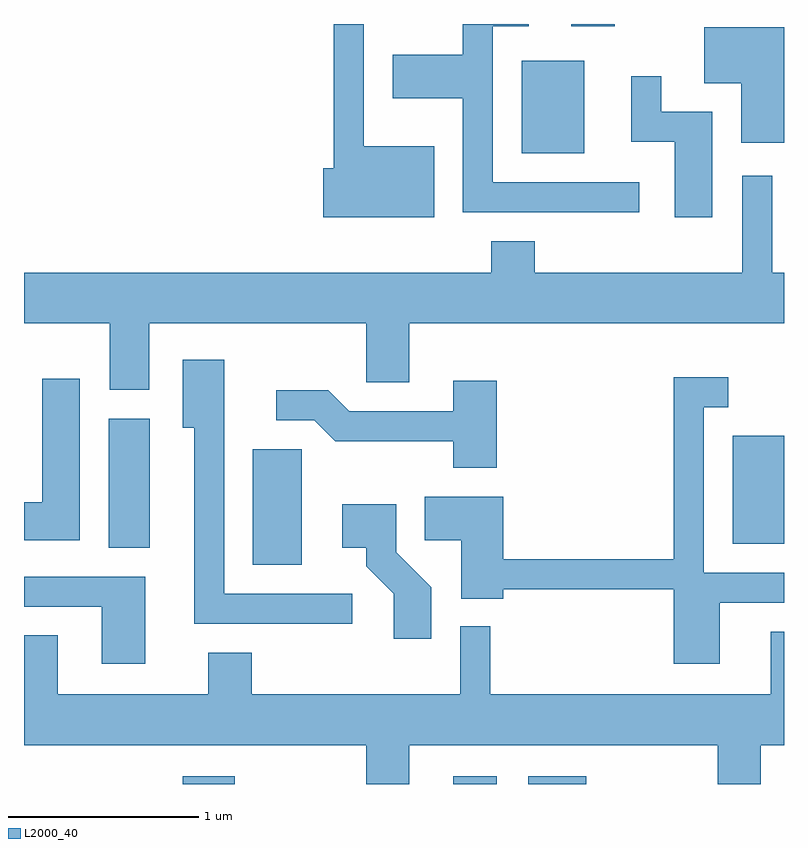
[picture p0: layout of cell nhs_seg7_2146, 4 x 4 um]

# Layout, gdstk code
import gdstk
lib = gdstk.Library(unit=1e-6, precision=1e-09)
def R(c, l, rs):  # rectangles x0, y0, x1, y1
    for r in rs: c.add(gdstk.rectangle(r[:2], r[2:], *l))
def P(c, l, *ps):  # polygons
    for p in ps: c.add(gdstk.Polygon(p, *l))
L2000_40 = (2000, 40)

nhs_seg7_2146 = lib.new_cell('nhs_seg7_2146')
R(nhs_seg7_2146, L2000_40, [(250.446,1796.252,250.719,1796.294), (251.871,1796.252,252.099,1796.294), (252.266,1796.252,252.569,1796.294), (250.816,1797.406,251.074,1798.014), (250.056,1797.496,250.274,1798.174), (253.341,1797.516,253.611,1798.084), (252.231,1799.571,252.559,1800.059), (252.491,1800.241,252.719,1800.252)])
P(nhs_seg7_2146, L2000_40, [(252.848,1799.419),(252.079,1799.419),(252.079,1800.241),(252.268,1800.241),(252.268,1800.252),(251.921,1800.252),(251.921,1800.089),(251.551,1800.089),(251.551,1799.861),(251.921,1799.861),(251.921,1799.261),(252.848,1799.261)],
  [(251.769,1799.609),(251.399,1799.609),(251.399,1800.252),(251.241,1800.252),(251.241,1799.494),(251.186,1799.494),(251.186,1799.236),(251.769,1799.236)],
  [(253.611,1800.234),(253.191,1800.234),(253.191,1799.941),(253.386,1799.941),(253.386,1799.626),(253.611,1799.626)],
  [(253.234,1799.789),(252.964,1799.789),(252.964,1799.978),(252.806,1799.978),(252.806,1799.631),(253.036,1799.631),(253.036,1799.236),(253.234,1799.236)],
  [(250.269,1798.676),(251.411,1798.676),(251.411,1798.366),(251.639,1798.366),(251.639,1798.676),(253.611,1798.676),(253.611,1798.944),(253.549,1798.944),(253.549,1799.453),(253.391,1799.453),(253.391,1798.944),(252.299,1798.944),(252.299,1799.109),(252.071,1799.109),(252.071,1798.944),(249.611,1798.944),(249.611,1798.676),(250.061,1798.676),(250.061,1798.326),(250.269,1798.326)],
  [(251.338,1797.254),(250.664,1797.254),(250.664,1798.484),(250.446,1798.484),(250.446,1798.126),(250.506,1798.126),(250.506,1797.096),(251.338,1797.096)],
  [(253.274,1797.206),(253.611,1797.206),(253.611,1797.364),(253.189,1797.364),(253.189,1798.236),(253.318,1798.236),(253.318,1798.394),(253.031,1798.394),(253.031,1797.434),(252.134,1797.434),(252.134,1797.764),(251.721,1797.764),(251.721,1797.536),(251.911,1797.536),(251.911,1797.226),(252.134,1797.226),(252.134,1797.276),(253.031,1797.276),(253.031,1796.886),(253.274,1796.886)],
  [(249.904,1798.384),(249.706,1798.384),(249.706,1797.734),(249.611,1797.734),(249.611,1797.536),(249.904,1797.536)],
  [(252.099,1798.374),(251.871,1798.374),(251.871,1798.214),(251.322,1798.214),(251.212,1798.324),(250.938,1798.324),(250.938,1798.166),(251.139,1798.166),(251.249,1798.056),(251.871,1798.056),(251.871,1797.916),(252.099,1797.916)],
  [(251.754,1797.287),(251.569,1797.472),(251.569,1797.724),(251.286,1797.724),(251.286,1797.496),(251.411,1797.496),(251.411,1797.399),(251.556,1797.254),(251.556,1797.016),(251.754,1797.016)],
  [(250.249,1797.344),(249.611,1797.344),(249.611,1797.186),(250.021,1797.186),(250.021,1796.886),(250.249,1796.886)],
  [(251.639,1796.456),(253.261,1796.456),(253.261,1796.252),(253.489,1796.252),(253.489,1796.456),(253.611,1796.456),(253.611,1797.054),(253.541,1797.054),(253.541,1796.724),(252.064,1796.724),(252.064,1797.083),(251.906,1797.083),(251.906,1796.724),(250.809,1796.724),(250.809,1796.944),(250.581,1796.944),(250.581,1796.724),(249.789,1796.724),(249.789,1797.034),(249.611,1797.034),(249.611,1796.456),(251.411,1796.456),(251.411,1796.252),(251.639,1796.252)])

lib.write_gds('nhs_seg7_2146.gds')
